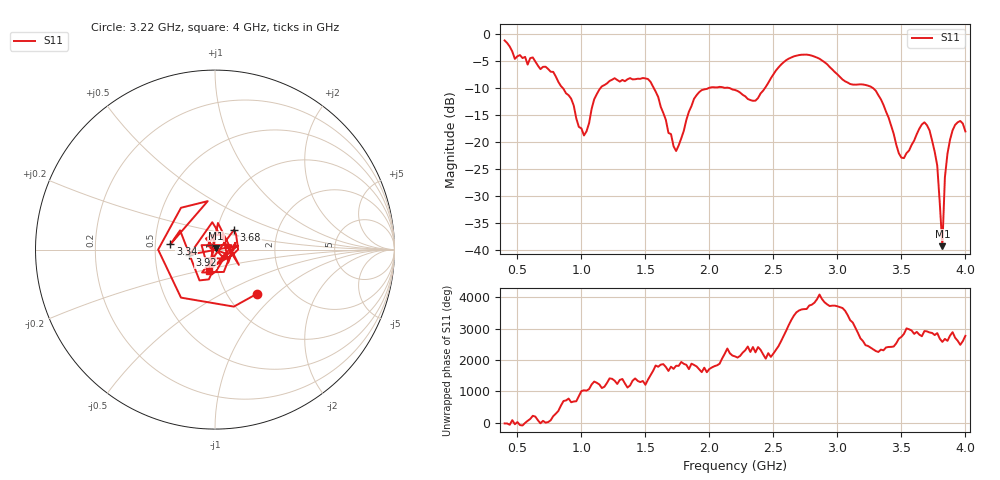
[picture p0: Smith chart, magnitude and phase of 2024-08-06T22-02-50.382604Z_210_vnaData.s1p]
!Created with skrf (http://scikit-rf.org).
# Hz S RI R 50.0
!freq ReS11 ImS11
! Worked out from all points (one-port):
!   181 points, 400 MHz to 4 GHz, reference 50 ohm
!   lowest |S11| = -39.2 dB at 3.82 GHz (marker M1), VSWR 1.02, Z = 50.5 + j0.955 ohm
!   |S11| at or under -10 dB: 856.4 MHz to 1.148 GHz (291.2 MHz wide, 29.1 % of centre); 1.567 GHz to 1.99 GHz (422.7 MHz wide, 23.8 % of centre); 3.281 GHz to end of sweep (the widest 3 of 4)
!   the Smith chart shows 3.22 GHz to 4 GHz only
!   S11 on the Smith chart (normalised r, x): 3.22 GHz: 1.37, -0.76; 3.34 GHz: 0.60, +0.04; 3.68 GHz: 1.20, +0.27; 3.92 GHz: 0.75, -0.04; 4 GHz: 0.91, -0.22
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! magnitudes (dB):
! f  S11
! 400 MHz  -1.1
! 480 MHz  -4.5
! 620 MHz  -4.3
! 860 MHz  -10.1
! 1.02 GHz  -18.7
! 1.14 GHz  -10.2
! 1.3 GHz  -8.8
! 1.52 GHz  -8.3
! 1.72 GHz  -20.7
! 1.76 GHz  -20.6
! 1.92 GHz  -10.7
! 2.2 GHz  -10.3
! 2.36 GHz  -12.3
! 2.66 GHz  -4.1
! 2.86 GHz  -4.5
! 3.1 GHz  -9.2
! 3.22 GHz  -9.4
! 3.34 GHz  -12.0
! 3.48 GHz  -22.0
! 3.56 GHz  -21.5
! 3.68 GHz  -16.3
! 3.72 GHz  -17.8
! 3.78 GHz  -24.3
! 3.82 GHz  -39.2
! 3.84 GHz  -26.5
! 3.88 GHz  -19.5
! 3.92 GHz  -16.8
! 4 GHz  -18.0
